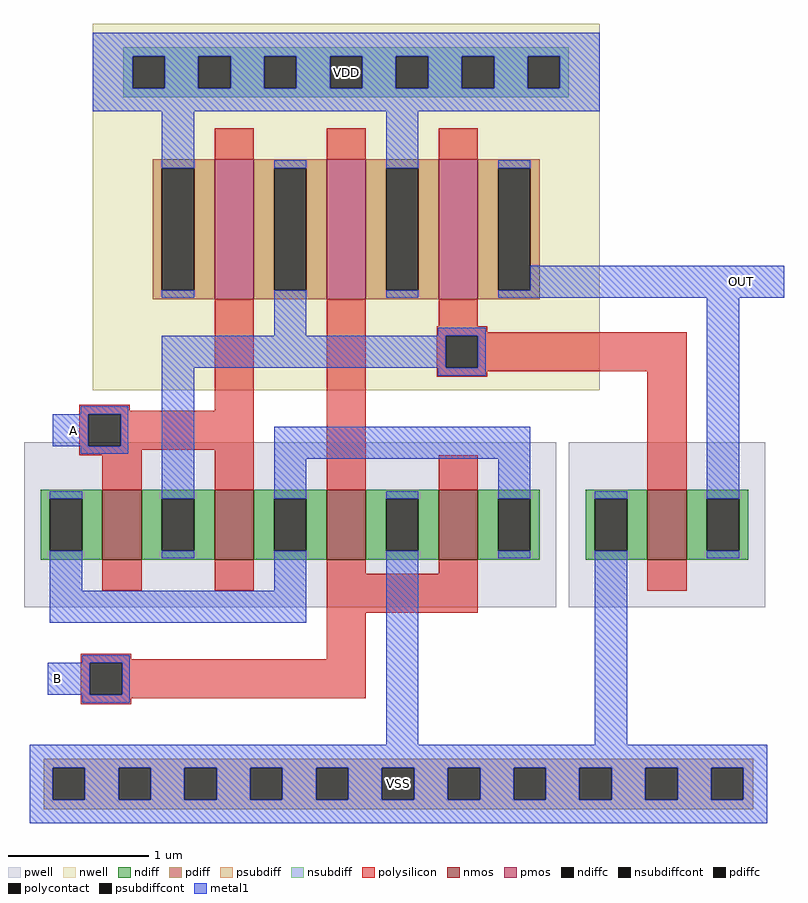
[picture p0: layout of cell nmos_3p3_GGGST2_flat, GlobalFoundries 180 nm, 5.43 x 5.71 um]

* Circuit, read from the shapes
.subckt nmos_3p3_GGGST2_flat A B OUT VDD VSS
XM1 n1 A n2 VSS nfet_03v3 w=0.5u l=0.28u m=2
XM2 VSS B n2 VSS nfet_03v3 w=0.5u l=0.28u m=2
XM3 OUT n1 VSS VSS nfet_03v3 w=0.5u l=0.28u
XM4 n1 A VDD VDD pfet_03v3 w=1u l=0.28u
XM5 VDD B n1 VDD pfet_03v3 w=1u l=0.28u
XM6 OUT n1 VDD VDD pfet_03v3 w=1u l=0.28u
.ends

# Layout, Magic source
magic
tech gf180mcuC
magscale 1 10
<< nwell >>
rect 98 310 822 833
<< pwell >>
rect 0 0 760 236
rect 778 0 1058 236
<< nmos >>
rect 112 68 168 168
rect 272 68 328 168
rect 432 68 488 168
rect 592 68 648 168
rect 890 68 946 168
<< pmos >>
rect 272 440 328 640
rect 432 440 488 640
rect 592 440 648 640
<< ndiff >>
rect 24 155 112 168
rect 24 81 37 155
rect 83 81 112 155
rect 24 68 112 81
rect 168 155 272 168
rect 168 81 197 155
rect 243 81 272 155
rect 168 68 272 81
rect 328 155 432 168
rect 328 81 357 155
rect 403 81 432 155
rect 328 68 432 81
rect 488 155 592 168
rect 488 81 517 155
rect 563 81 592 155
rect 488 68 592 81
rect 648 155 736 168
rect 648 81 677 155
rect 723 81 736 155
rect 648 68 736 81
rect 802 155 890 168
rect 802 81 815 155
rect 861 81 890 155
rect 802 68 890 81
rect 946 155 1034 168
rect 946 81 975 155
rect 1021 81 1034 155
rect 946 68 1034 81
<< pdiff >>
rect 184 627 272 640
rect 184 453 197 627
rect 243 453 272 627
rect 184 440 272 453
rect 328 627 432 640
rect 328 453 357 627
rect 403 453 432 627
rect 328 440 432 453
rect 488 627 592 640
rect 488 453 517 627
rect 563 453 592 627
rect 488 440 592 453
rect 648 627 736 640
rect 648 453 677 627
rect 723 453 736 627
rect 648 440 736 453
<< ndiffc >>
rect 37 81 83 155
rect 197 81 243 155
rect 357 81 403 155
rect 517 81 563 155
rect 677 81 723 155
rect 815 81 861 155
rect 975 81 1021 155
<< pdiffc >>
rect 197 453 243 627
rect 357 453 403 627
rect 517 453 563 627
rect 677 453 723 627
<< psubdiff >>
rect 28 -229 1041 -216
rect 28 -275 41 -229
rect 87 -275 135 -229
rect 181 -275 229 -229
rect 275 -275 323 -229
rect 369 -275 417 -229
rect 463 -275 511 -229
rect 557 -275 605 -229
rect 651 -275 699 -229
rect 745 -275 793 -229
rect 839 -275 887 -229
rect 933 -275 981 -229
rect 1027 -275 1041 -229
rect 28 -288 1041 -275
<< nsubdiff >>
rect 142 787 778 800
rect 142 741 155 787
rect 201 741 249 787
rect 295 741 343 787
rect 389 741 437 787
rect 483 741 531 787
rect 577 741 625 787
rect 671 741 719 787
rect 765 741 778 787
rect 142 728 778 741
<< psubdiffcont >>
rect 41 -275 87 -229
rect 135 -275 181 -229
rect 229 -275 275 -229
rect 323 -275 369 -229
rect 417 -275 463 -229
rect 511 -275 557 -229
rect 605 -275 651 -229
rect 699 -275 745 -229
rect 793 -275 839 -229
rect 887 -275 933 -229
rect 981 -275 1027 -229
<< nsubdiffcont >>
rect 155 741 201 787
rect 249 741 295 787
rect 343 741 389 787
rect 437 741 483 787
rect 531 741 577 787
rect 625 741 671 787
rect 719 741 765 787
<< polysilicon >>
rect 272 640 328 684
rect 432 640 488 684
rect 592 640 648 684
rect 79 281 151 289
rect 272 281 328 440
rect 79 276 328 281
rect 79 230 92 276
rect 138 230 328 276
rect 79 225 328 230
rect 79 217 168 225
rect 112 168 168 217
rect 272 168 328 225
rect 432 168 488 440
rect 592 401 648 440
rect 589 393 661 401
rect 589 388 946 393
rect 589 342 602 388
rect 648 342 946 388
rect 589 337 946 342
rect 589 329 661 337
rect 592 168 648 217
rect 890 168 946 337
rect 112 24 168 68
rect 272 24 328 68
rect 432 48 488 68
rect 592 48 648 68
rect 432 -8 648 48
rect 890 24 946 68
rect 81 -74 153 -66
rect 432 -74 488 -8
rect 81 -79 488 -74
rect 81 -125 94 -79
rect 140 -125 488 -79
rect 81 -130 488 -125
rect 81 -138 153 -130
<< polycontact >>
rect 92 230 138 276
rect 602 342 648 388
rect 94 -125 140 -79
<< metal1 >>
rect 98 787 822 820
rect 98 741 155 787
rect 201 741 249 787
rect 295 741 343 787
rect 389 741 437 787
rect 483 741 531 787
rect 577 741 625 787
rect 671 741 719 787
rect 765 741 822 787
rect 98 708 822 741
rect 197 627 243 708
rect 197 442 243 453
rect 357 627 403 638
rect 357 388 403 453
rect 517 627 563 708
rect 517 442 563 453
rect 677 627 723 638
rect 723 453 1085 488
rect 677 442 1085 453
rect 591 388 659 399
rect 197 342 602 388
rect 648 342 659 388
rect 81 276 149 287
rect 41 230 92 276
rect 138 230 149 276
rect 81 219 149 230
rect 37 155 83 166
rect 37 24 83 81
rect 197 155 243 342
rect 591 331 659 342
rect 197 70 243 81
rect 357 212 723 258
rect 357 155 403 212
rect 357 24 403 81
rect 37 -22 403 24
rect 517 155 563 166
rect 83 -79 151 -68
rect 34 -125 94 -79
rect 140 -125 151 -79
rect 83 -136 151 -125
rect 517 -196 563 81
rect 677 155 723 212
rect 677 70 723 81
rect 815 155 861 166
rect 815 -196 861 81
rect 975 155 1021 442
rect 975 70 1021 81
rect 8 -229 1061 -196
rect 8 -275 41 -229
rect 87 -275 135 -229
rect 181 -275 229 -229
rect 275 -275 323 -229
rect 369 -275 417 -229
rect 463 -275 511 -229
rect 557 -275 605 -229
rect 651 -275 699 -229
rect 745 -275 793 -229
rect 839 -275 887 -229
rect 933 -275 981 -229
rect 1027 -275 1061 -229
rect 8 -308 1061 -275
<< labels >>
flabel metal1 71 253 71 253 0 FreeSans 320 0 0 0 A
port 2 nsew
flabel metal1 1025 465 1025 465 0 FreeSans 320 0 0 0 OUT
port 4 nsew
flabel nsubdiffcont 460 764 460 764 0 FreeSans 320 0 0 0 VDD
port 5 nsew
flabel metal1 48 -102 48 -102 0 FreeSans 320 0 0 0 B
port 3 nsew
flabel psubdiffcont 534 -252 534 -252 0 FreeSans 320 0 0 0 VSS
port 6 nsew
<< end >>
